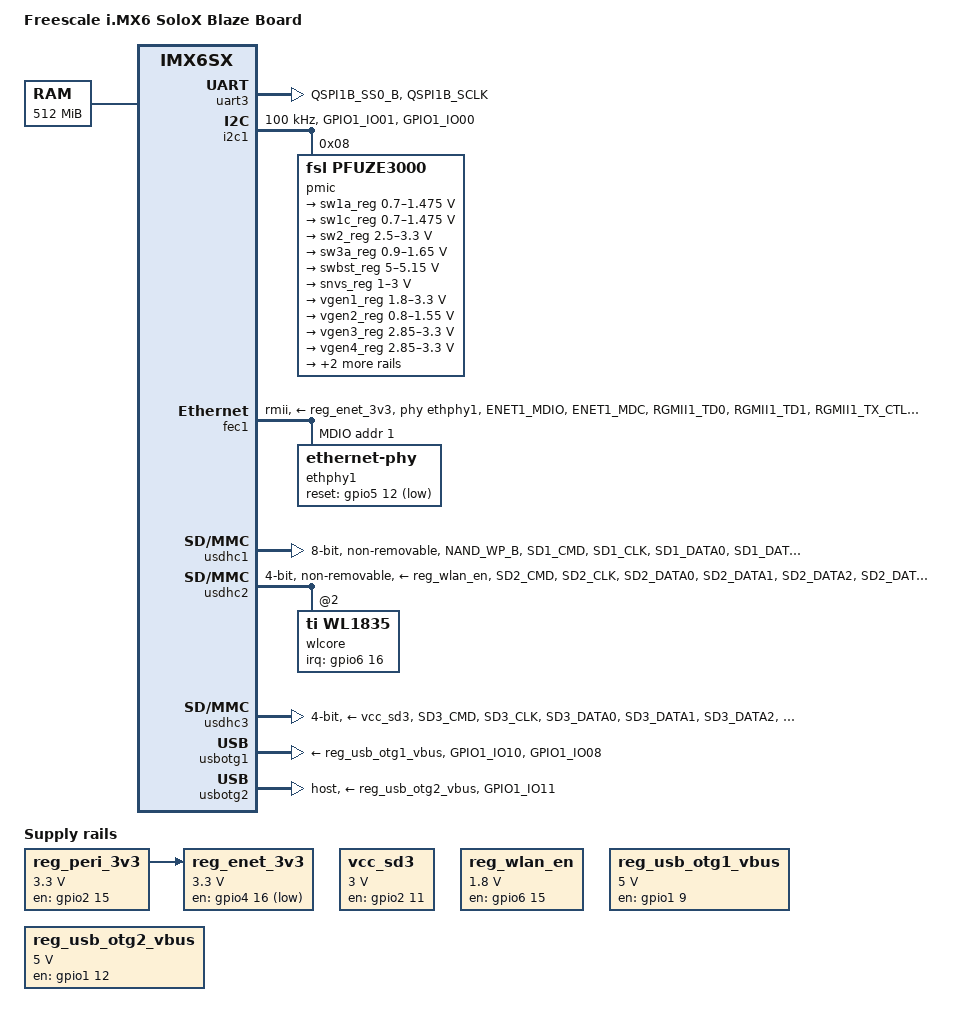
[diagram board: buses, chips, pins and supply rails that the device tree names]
// SPDX-License-Identifier: GPL-2.0
/*
 * A custom i.MX6SoloX board.
 *
 * Display, touch, audio and CAN are on the board and not described yet. The
 * USB Wi-Fi adapters are out of scope; the on-board radio is below.
 */

/dts-v1/;

#include <dt-bindings/gpio/gpio.h>
#include <dt-bindings/interrupt-controller/irq.h>
#include "imx6sx.dtsi"

/ {
	model = "Freescale i.MX6 SoloX Blaze Board";
	compatible = "fsl,imx6sx-blaze", "fsl,imx6sx";

	chosen {
		stdout-path = &uart3;
	};

	/*
	 * 512 MB. The board's existing tree says 1 GiB and is wrong.
	 */
	memory@80000000 {
		device_type = "memory";
		reg = <0x80000000 0x20000000>;
	};

	reg_peri_3v3: regulator-peri-3v3 {
		compatible = "regulator-fixed";
		pinctrl-names = "default";
		pinctrl-0 = <&pinctrl_peri_3v3>;
		regulator-name = "peri_3v3";
		regulator-min-microvolt = <3300000>;
		regulator-max-microvolt = <3300000>;
		gpio = <&gpio2 15 GPIO_ACTIVE_HIGH>;
		enable-active-high;
		/*
		 * Feeds ENET, SD2, LVDS and BT. The enable has a pull-up, so
		 * the rail comes up on its own; this is what holds it.
		 */
		regulator-always-on;
		regulator-boot-on;
	};

	reg_enet_3v3: regulator-enet-3v3 {
		compatible = "regulator-fixed";
		pinctrl-names = "default";
		pinctrl-0 = <&pinctrl_enet_3v3>;
		regulator-name = "enet_3v3";
		regulator-min-microvolt = <3300000>;
		regulator-max-microvolt = <3300000>;
		gpio = <&gpio4 16 GPIO_ACTIVE_LOW>;
		vin-supply = <&reg_peri_3v3>;
		/*
		 * Without this the PHY latches its straps on a supply that is
		 * still ramping.
		 */
		startup-delay-us = <50000>;
	};

	/* The SD socket's 3V0 is switched on GPIO2_11, enable active high. */
	vcc_sd3: regulator-vcc-sd3 {
		compatible = "regulator-fixed";
		pinctrl-names = "default";
		pinctrl-0 = <&pinctrl_vcc_sd3>;
		regulator-name = "VCC_SD3";
		regulator-min-microvolt = <3000000>;
		regulator-max-microvolt = <3000000>;
		gpio = <&gpio2 11 GPIO_ACTIVE_HIGH>;
		off-on-delay-us = <20000>;
		enable-active-high;
	};

	/*
	 * Not a rail. This is WLAN_EN on the Wi-Fi module, modelled as a
	 * regulator so the MMC core asserts it as usdhc2's vmmc and then waits
	 * out the module's power-up before the first SDIO command. The module
	 * itself is fed from PERI_3V3. The voltage is nominal — nothing reads
	 * it — but the delay is not: the part does not answer sooner.
	 */
	reg_wlan_en: regulator-wlan-en {
		compatible = "regulator-fixed";
		pinctrl-names = "default";
		pinctrl-0 = <&pinctrl_wlan_en>;
		regulator-name = "wlan_en";
		regulator-min-microvolt = <1800000>;
		regulator-max-microvolt = <1800000>;
		gpio = <&gpio6 15 GPIO_ACTIVE_HIGH>;
		enable-active-high;
		startup-delay-us = <70000>;
	};

	reg_usb_otg1_vbus: regulator-usb-otg1-vbus {
		compatible = "regulator-fixed";
		pinctrl-names = "default";
		pinctrl-0 = <&pinctrl_usb_otg1>;
		regulator-name = "usb_otg1_vbus";
		regulator-min-microvolt = <5000000>;
		regulator-max-microvolt = <5000000>;
		gpio = <&gpio1 9 GPIO_ACTIVE_HIGH>;
		enable-active-high;
	};

	reg_usb_otg2_vbus: regulator-usb-otg2-vbus {
		compatible = "regulator-fixed";
		pinctrl-names = "default";
		pinctrl-0 = <&pinctrl_usb_otg2>;
		regulator-name = "usb_otg2_vbus";
		regulator-min-microvolt = <5000000>;
		regulator-max-microvolt = <5000000>;
		gpio = <&gpio1 12 GPIO_ACTIVE_HIGH>;
		enable-active-high;
	};
};

&uart3 {
	pinctrl-names = "default";
	pinctrl-0 = <&pinctrl_uart3>;
	status = "okay";
};

&i2c1 {
	clock-frequency = <100000>;
	pinctrl-names = "default";
	pinctrl-0 = <&pinctrl_i2c1>;
	status = "okay";

	pmic: pfuze3000@8 {
		compatible = "fsl,pfuze3000";
		reg = <0x08>;

		regulators {
			sw1a_reg: sw1a {
				regulator-min-microvolt = <700000>;
				regulator-max-microvolt = <1475000>;
				regulator-boot-on;
				regulator-always-on;
				regulator-ramp-delay = <6250>;
			};

			/* sw1c_reg label to align with pfuze100/pfuze200 */
			sw1c_reg: sw1b {
				regulator-min-microvolt = <700000>;
				regulator-max-microvolt = <1475000>;
				regulator-boot-on;
				regulator-always-on;
				regulator-ramp-delay = <6250>;
			};

			sw2_reg: sw2 {
				regulator-min-microvolt = <2500000>;
				regulator-max-microvolt = <3300000>;
				regulator-boot-on;
				regulator-always-on;
			};

			sw3a_reg: sw3 {
				regulator-min-microvolt = <900000>;
				regulator-max-microvolt = <1650000>;
				regulator-boot-on;
				regulator-always-on;
			};

			swbst_reg: swbst {
				regulator-min-microvolt = <5000000>;
				regulator-max-microvolt = <5150000>;
			};

			snvs_reg: vsnvs {
				regulator-min-microvolt = <1000000>;
				regulator-max-microvolt = <3000000>;
				regulator-boot-on;
				regulator-always-on;
			};

			vref_reg: vrefddr {
				regulator-boot-on;
				regulator-always-on;
			};

			vgen1_reg: vldo1 {
				regulator-min-microvolt = <1800000>;
				regulator-max-microvolt = <3300000>;
			};

			vgen2_reg: vldo2 {
				regulator-min-microvolt = <800000>;
				regulator-max-microvolt = <1550000>;
			};

			vgen3_reg: vccsd {
				regulator-min-microvolt = <2850000>;
				regulator-max-microvolt = <3300000>;
				regulator-always-on;
			};

			vgen4_reg: v33 {
				regulator-min-microvolt = <2850000>;
				regulator-max-microvolt = <3300000>;
				regulator-always-on;
			};

			vgen5_reg: vldo3 {
				regulator-min-microvolt = <1800000>;
				regulator-max-microvolt = <3300000>;
			};

			vgen6_reg: vldo4 {
				regulator-min-microvolt = <1800000>;
				regulator-max-microvolt = <3300000>;
				regulator-always-on;
			};
		};
	};
};

/*
 * Micrel KSZ8081RNBIA on ENET1, MDIO address 1, RMII. The GPIO5_12 reset is
 * not optional: held asserted, the part never answers MDIO.
 */
&fec1 {
	pinctrl-names = "default";
	pinctrl-0 = <&pinctrl_enet1>;
	phy-supply = <&reg_enet_3v3>;
	phy-mode = "rmii";
	phy-handle = <&ethphy1>;

	status = "okay";

	mdio {
		#address-cells = <1>;
		#size-cells = <0>;

		ethphy1: ethernet-phy@1 {
			reg = <1>;
			micrel,led-mode = <1>;
			reset-gpios = <&gpio5 12 GPIO_ACTIVE_LOW>;
			reset-assert-us = <15000>;
			reset-deassert-us = <10000>;
		};
	};
};

/*
 * The reference design's low-power DDR timings corrupt this board's memory.
 * Nothing is lost by disabling it: the FEC pins BUS_FREQ_HIGH from probe
 * until suspend, so the low-power path is unreachable anyway.
 */
&{/soc/busfreq} {
	status = "disabled";
};

&usdhc1 {
	pinctrl-names = "default";
	pinctrl-0 = <&pinctrl_usdhc1>;
	bus-width = <8>;
	non-removable;
	status = "okay";
};

/*
 * The Jorjin WG7833-B0 Wi-Fi module, SDIO only — its Bluetooth side is out of
 * scope. The part is a TI WL1833, which the driver's match table does not
 * name; every ti,wl18xx entry there selects the same wl18xx_data, and wl1835
 * is the one TI's own device trees use for this module.
 */
&usdhc2 {
	pinctrl-names = "default";
	/*
	 * The interrupt pad is muxed here, not on the wlcore node: that node is
	 * an SDIO function device the MMC core only creates once the card has
	 * enumerated, so pinctrl placed on it is applied too late to help the
	 * enumeration it depends on.
	 */
	pinctrl-0 = <&pinctrl_usdhc2 &pinctrl_wlan_irq>;
	bus-width = <4>;
	non-removable;
	no-1-8-v;
	keep-power-in-suspend;
	wakeup-source;
	cap-power-off-card;
	vmmc-supply = <&reg_wlan_en>;
	#address-cells = <1>;
	#size-cells = <0>;
	status = "okay";

	wlcore@2 {
		compatible = "ti,wl1835";
		reg = <2>;
		interrupt-parent = <&gpio6>;
		interrupts = <16 IRQ_TYPE_EDGE_RISING>;
	};
};

/*
 * no-1-8-v: the socket is 3V0 only, and a card negotiating 1.8 V panics on
 * this hardware.
 */
&usdhc3 {
	pinctrl-names = "default";
	pinctrl-0 = <&pinctrl_usdhc3>;
	bus-width = <4>;
	no-1-8-v;
	vmmc-supply = <&vcc_sd3>;
	cd-gpios = <&gpio2 10 GPIO_ACTIVE_LOW>;
	status = "okay";
};

&usbotg1 {
	vbus-supply = <&reg_usb_otg1_vbus>;
	pinctrl-names = "default";
	pinctrl-0 = <&pinctrl_usb_otg1_id>, <&pinctrl_usb_otg1_oc>;
	over-current-active-low;
	status = "okay";
};

&usbotg2 {
	vbus-supply = <&reg_usb_otg2_vbus>;
	pinctrl-names = "default";
	pinctrl-0 = <&pinctrl_usb_otg2_oc>;
	dr_mode = "host";
	over-current-active-low;
	status = "okay";
};

&wdog1 {
	pinctrl-names = "default";
	pinctrl-0 = <&pinctrl_wdog>;
	fsl,ext-reset-output;
};

/* The PMIC supplies the cores directly; the anatop LDOs are bypassed. */
&reg_arm {
	vin-supply = <&sw1a_reg>;
	regulator-allow-bypass;
};

&reg_soc {
	vin-supply = <&sw1c_reg>;
	regulator-allow-bypass;
};

&iomuxc {
	pinctrl_uart3: uart3grp {
		fsl,pins = <
			MX6SX_PAD_QSPI1B_SS0_B__UART3_DCE_TX	0x1b0b1
			MX6SX_PAD_QSPI1B_SCLK__UART3_DCE_RX	0x1b0b1
		>;
	};

	pinctrl_i2c1: i2c1grp {
		fsl,pins = <
			MX6SX_PAD_GPIO1_IO01__I2C1_SDA		0x4001b088
			MX6SX_PAD_GPIO1_IO00__I2C1_SCL		0x4001b088
		>;
	};

	pinctrl_usdhc1: usdhc1grp {
		fsl,pins = <
			MX6SX_PAD_NAND_WP_B__USDHC1_RESET_B	0x17059
			MX6SX_PAD_SD1_CMD__USDHC1_CMD		0x17059
			MX6SX_PAD_SD1_CLK__USDHC1_CLK		0x10059
			MX6SX_PAD_SD1_DATA0__USDHC1_DATA0	0x17059
			MX6SX_PAD_SD1_DATA1__USDHC1_DATA1	0x17059
			MX6SX_PAD_SD1_DATA2__USDHC1_DATA2	0x17059
			MX6SX_PAD_SD1_DATA3__USDHC1_DATA3	0x17059
			MX6SX_PAD_NAND_DATA00__USDHC1_DATA4	0x17059
			MX6SX_PAD_NAND_DATA01__USDHC1_DATA5	0x17059
			MX6SX_PAD_NAND_DATA02__USDHC1_DATA6	0x17059
			MX6SX_PAD_NAND_DATA03__USDHC1_DATA7	0x17059
		>;
	};

	pinctrl_usdhc2: usdhc2grp {
		fsl,pins = <
			MX6SX_PAD_SD2_CMD__USDHC2_CMD		0x17061
			MX6SX_PAD_SD2_CLK__USDHC2_CLK		0x10071
			MX6SX_PAD_SD2_DATA0__USDHC2_DATA0	0x17061
			MX6SX_PAD_SD2_DATA1__USDHC2_DATA1	0x17061
			MX6SX_PAD_SD2_DATA2__USDHC2_DATA2	0x17061
			MX6SX_PAD_SD2_DATA3__USDHC2_DATA3	0x17061
		>;
	};

	pinctrl_usdhc3: usdhc3grp {
		fsl,pins = <
			MX6SX_PAD_SD3_CMD__USDHC3_CMD		0x17059
			MX6SX_PAD_SD3_CLK__USDHC3_CLK		0x10061
			MX6SX_PAD_SD3_DATA0__USDHC3_DATA0	0x17059
			MX6SX_PAD_SD3_DATA1__USDHC3_DATA1	0x17059
			MX6SX_PAD_SD3_DATA2__USDHC3_DATA2	0x17059
			MX6SX_PAD_SD3_DATA3__USDHC3_DATA3	0x17059
			MX6SX_PAD_KEY_COL0__GPIO2_IO_10		0x17059
		>;
	};

	pinctrl_vcc_sd3: vccsd3grp {
		fsl,pins = <
			MX6SX_PAD_KEY_COL1__GPIO2_IO_11		0x17059
		>;
	};

	pinctrl_wlan_en: wlanengrp {
		fsl,pins = <
			MX6SX_PAD_SD4_DATA1__GPIO6_IO_15	0x17059
		>;
	};

	pinctrl_wlan_irq: wlanirqgrp {
		fsl,pins = <
			MX6SX_PAD_SD4_DATA2__GPIO6_IO_16	0x13059
		>;
	};

	pinctrl_wdog: wdoggrp {
		fsl,pins = <
			MX6SX_PAD_GPIO1_IO13__WDOG1_WDOG_ANY	0x30b0
		>;
	};

	pinctrl_enet1: enet1grp {
		fsl,pins = <
			MX6SX_PAD_ENET1_MDIO__ENET1_MDIO		0xa0b1
			MX6SX_PAD_ENET1_MDC__ENET1_MDC			0xa0b1
			MX6SX_PAD_RGMII1_TD0__ENET1_TX_DATA_0		0xa0b1
			MX6SX_PAD_RGMII1_TD1__ENET1_TX_DATA_1		0xa0b1
			MX6SX_PAD_RGMII1_TX_CTL__ENET1_TX_EN		0xa0b1
			MX6SX_PAD_RGMII1_RXC__ENET1_RX_ER		0x3081
			MX6SX_PAD_RGMII1_RD0__ENET1_RX_DATA_0		0x3081
			MX6SX_PAD_RGMII1_RD1__ENET1_RX_DATA_1		0x3081
			MX6SX_PAD_RGMII1_RX_CTL__ENET1_RX_EN		0x3081
			MX6SX_PAD_ENET1_TX_CLK__ENET1_REF_CLK1		0x91
			MX6SX_PAD_ENET1_RX_CLK__ENET1_REF_CLK_25M	0x91
			MX6SX_PAD_RGMII1_TD2__GPIO5_IO_8		0x80000000
			MX6SX_PAD_RGMII2_RD0__GPIO5_IO_12		0x80000000
		>;
	};

	pinctrl_enet_3v3: enet3v3grp {
		fsl,pins = <
			MX6SX_PAD_QSPI1A_DATA0__GPIO4_IO_16	0x80000000
		>;
	};

	pinctrl_peri_3v3: peri3v3grp {
		fsl,pins = <
			MX6SX_PAD_KEY_ROW0__GPIO2_IO_15		0x80000000
		>;
	};
	pinctrl_usb_otg1: usbotg1grp {
		fsl,pins = <
			MX6SX_PAD_GPIO1_IO09__GPIO1_IO_9	0x10b0
		>;
	};

	pinctrl_usb_otg1_oc: usbotg1ocgrp {
		fsl,pins = <
			MX6SX_PAD_GPIO1_IO08__USB_OTG1_OC	0x17059
		>;
	};

	pinctrl_usb_otg1_id: usbotg1idgrp {
		fsl,pins = <
			MX6SX_PAD_GPIO1_IO10__ANATOP_OTG1_ID	0x17059
		>;
	};

	pinctrl_usb_otg2: usbotg2grp {
		fsl,pins = <
			MX6SX_PAD_GPIO1_IO12__GPIO1_IO_12	0x10b0
		>;
	};

	pinctrl_usb_otg2_oc: usbotg2ocgrp {
		fsl,pins = <
			MX6SX_PAD_GPIO1_IO11__USB_OTG2_OC	0x17059
		>;
	};

};
